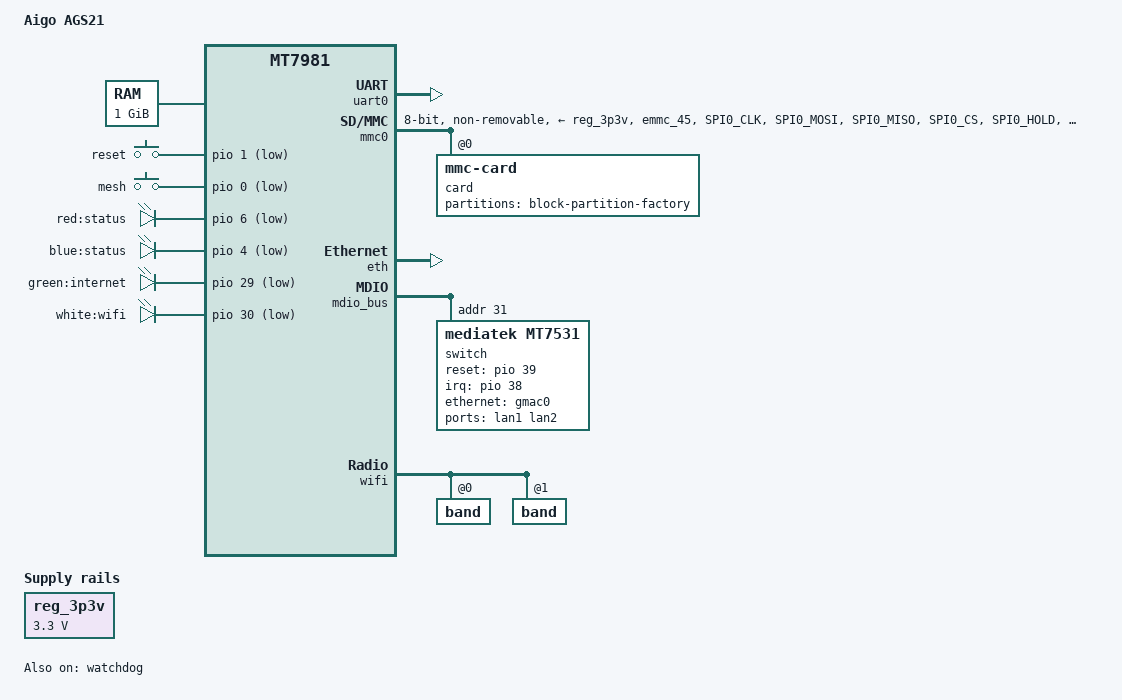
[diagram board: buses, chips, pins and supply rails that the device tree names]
// SPDX-License-Identifier: GPL-2.0-or-later OR MIT
/*
 * Aigo AGS21 (MT7981, 1G RAM, 128G eMMC)
 * Based on dailook's device tree (kiddin9/Kwrt)
 */

/dts-v1/;
#include <dt-bindings/gpio/gpio.h>
#include <dt-bindings/input/input.h>
#include <dt-bindings/leds/common.h>
#include <dt-bindings/pinctrl/mt65xx.h>

#include "mt7981b.dtsi"

/ {
	model = "Aigo AGS21";
	compatible = "aigo,ags21", "mediatek,mt7981";

	aliases {
		serial0 = &uart0;
		led-boot = &status_red_led;
		led-failsafe = &status_red_led;
		led-running = &status_blue_led;
		led-upgrade = &status_blue_led;
	};

	chosen {
		bootargs = "root=PARTLABEL=rootfs rootwait rootfstype=squashfs,f2fs";
		stdout-path = "serial0:115200n8";
	};

	memory@40000000 {
		reg = <0 0x40000000 0 0x40000000>;
		device_type = "memory";
	};

	reg_3p3v: regulator-3p3v {
		compatible = "regulator-fixed";
		regulator-name = "fixed-3.3V";
		regulator-min-microvolt = <3300000>;
		regulator-max-microvolt = <3300000>;
		regulator-boot-on;
		regulator-always-on;
	};

	gpio-keys {
		compatible = "gpio-keys";

		button-reset {
			label = "reset";
			linux,code = <KEY_RESTART>;
			gpios = <&pio 1 GPIO_ACTIVE_LOW>;
		};

		button-mesh {
			label = "mesh";
			linux,code = <BTN_9>;
			gpios = <&pio 0 GPIO_ACTIVE_LOW>;
		};
	};

	gpio-leds {
		compatible = "gpio-leds";

		status_red_led: led-0 {
			label = "red:status";
			gpios = <&pio 6 GPIO_ACTIVE_LOW>;
		};

		status_blue_led: led-1 {
			label = "blue:status";
			gpios = <&pio 4 GPIO_ACTIVE_LOW>;
		};

		internet_led: led-2 {
			label = "green:internet";
			gpios = <&pio 29 GPIO_ACTIVE_LOW>;
		};

		wifi_led: led-3 {
			label = "white:wifi";
			gpios = <&pio 30 GPIO_ACTIVE_LOW>;
		};
	};
};

&uart0 {
	status = "okay";
};

&watchdog {
	status = "okay";
};

&mmc0 {
	bus-width = <8>;
	cap-mmc-highspeed;
	max-frequency = <52000000>;
	no-sd;
	no-sdio;
	non-removable;
	pinctrl-names = "default", "state_uhs";
	pinctrl-0 = <&mmc0_pins_default>;
	pinctrl-1 = <&mmc0_pins_uhs>;
	vmmc-supply = <&reg_3p3v>;
	status = "okay";

	card@0 {
		compatible = "mmc-card";
		reg = <0>;

		block {
			compatible = "block-device";

			partitions {
				block-partition-factory {
					partname = "factory";

					nvmem-layout {
						compatible = "fixed-layout";
						#address-cells = <1>;
						#size-cells = <1>;

						eeprom_factory_0: eeprom@0 {
							reg = <0x0 0x1000>;
						};

						macaddr_factory_4: macaddr@4 {
							compatible = "mac-base";
							reg = <0x4 0x6>;
							#nvmem-cell-cells = <1>;
						};

						macaddr_factory_24: macaddr@24 {
							compatible = "mac-base";
							reg = <0x24 0x6>;
							#nvmem-cell-cells = <1>;
						};

						macaddr_factory_2a: macaddr@2a {
							compatible = "mac-base";
							reg = <0x2a 0x6>;
							#nvmem-cell-cells = <1>;
						};

						macaddr_factory_30: macaddr@30 {
							compatible = "mac-base";
							reg = <0x30 0x6>;
							#nvmem-cell-cells = <1>;
						};
					};
				};
			};
		};
	};
};

&eth {
	status = "okay";

	gmac0: mac@0 {
		compatible = "mediatek,eth-mac";
		reg = <0>;
		phy-mode = "2500base-x";

		nvmem-cells = <&macaddr_factory_2a 0>;
		nvmem-cell-names = "mac-address";

		fixed-link {
			speed = <2500>;
			full-duplex;
			pause;
		};
	};

	gmac1: mac@1 {
		compatible = "mediatek,eth-mac";
		reg = <1>;
		phy-mode = "gmii";
		phy-handle = <&int_gbe_phy>;

		nvmem-cells = <&macaddr_factory_24 0>;
		nvmem-cell-names = "mac-address";
	};
};

&mdio_bus {
	switch: switch@1f {
		compatible = "mediatek,mt7531";
		reg = <31>;
		reset-gpios = <&pio 39 GPIO_ACTIVE_HIGH>;
		interrupt-controller;
		#interrupt-cells = <1>;
		interrupt-parent = <&pio>;
		interrupts = <38 IRQ_TYPE_LEVEL_HIGH>;
	};
};

&switch {
	ports {
		#address-cells = <1>;
		#size-cells = <0>;

		port@1 {
			reg = <1>;
			label = "lan1";
		};

		port@2 {
			reg = <2>;
			label = "lan2";
		};

		port@6 {
			reg = <6>;
			ethernet = <&gmac0>;
			phy-mode = "2500base-x";

			fixed-link {
				speed = <2500>;
				full-duplex;
				pause;
			};
		};
	};
};

&pio {
	mmc0_pins_default: mmc0-pins-default {
		mux {
			function = "flash";
			groups = "emmc_45";
		};
		conf-cmd-dat {
			pins = "SPI0_CLK", "SPI0_MOSI", "SPI0_MISO",
				"SPI0_CS", "SPI0_HOLD", "SPI0_WP",
				"SPI1_CLK", "SPI1_MOSI", "SPI1_MISO";
			input-enable;
			drive-strength = <MTK_DRIVE_12mA>;
			bias-pull-up = <MTK_PUPD_SET_R1R0_01>;
		};
		conf-clk {
			pins = "SPI1_CS";
			drive-strength = <MTK_DRIVE_12mA>;
			bias-pull-down = <MTK_PUPD_SET_R1R0_10>;
		};
	};

	mmc0_pins_uhs: mmc0-pins-uhs {
		mux {
			function = "flash";
			groups = "emmc_45";
		};
		conf-cmd-dat {
			pins = "SPI0_CLK", "SPI0_MOSI", "SPI0_MISO",
				"SPI0_CS", "SPI0_HOLD", "SPI0_WP",
				"SPI1_CLK", "SPI1_MOSI", "SPI1_MISO";
			input-enable;
			drive-strength = <MTK_DRIVE_12mA>;
			bias-pull-up = <MTK_PUPD_SET_R1R0_01>;
		};
		conf-clk {
			pins = "SPI1_CS";
			drive-strength = <MTK_DRIVE_12mA>;
			bias-pull-down = <MTK_PUPD_SET_R1R0_10>;
		};
	};
};

&wifi {
	#address-cells = <1>;
	#size-cells = <0>;
	nvmem-cells = <&eeprom_factory_0>;
	nvmem-cell-names = "eeprom";
	status = "okay";

	band@0 {
		reg = <0>;
		nvmem-cells = <&macaddr_factory_4 0>;
		nvmem-cell-names = "mac-address";
	};

	band@1 {
		reg = <1>;
		nvmem-cells = <&macaddr_factory_30 0>;
		nvmem-cell-names = "mac-address";
	};
};

/* USB is not wired on the stock board. */
&usb_phy {
	status = "disabled";
};

&xhci {
	status = "disabled";
};
